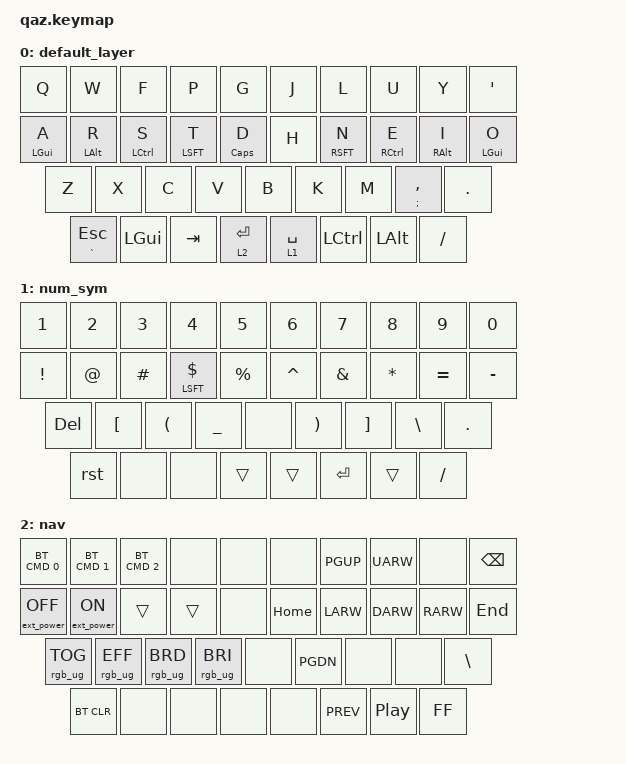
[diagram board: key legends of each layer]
/*
 * Copyright (c) 2020 The ZMK Contributors
 *
 * SPDX-License-Identifier: MIT
 */

#include <behaviors.dtsi>
#include <dt-bindings/zmk/keys.h>
#include <dt-bindings/zmk/bt.h>
#include <dt-bindings/zmk/rgb.h>
#include <dt-bindings/zmk/ext_power.h>

#define DEFAULT 0
#define NUM_SYM 1
#define NAV     2

/ {
	behaviors {
		rst: behavior_tap_hold1 {
			compatible = "zmk,behavior-hold-tap";
			label = "Bootloader Tap - Reset Hold";
			#binding-cells = <0>;
			tapping_term_ms = <200>;
            flavor = "balanced";
			bindings = <&reset>, <&bootloader>;
        };

        bh: layer_taps {
			compatible = "zmk,behavior-hold-tap";
			label = "Layer-Tap";
			#binding-cells = <2>;
			tapping_term_ms = <225>;
            flavor = "balanced";
			bindings = <&mo>, <&kp>;
        };

        hm: homerow_mods {
			compatible = "zmk,behavior-hold-tap";
			label = "homerow mods";
			#binding-cells = <2>;
			tapping_term_ms = <200>;
            flavor = "tap-preferred";
			bindings = <&kp>, <&kp>;
        };
        
        hm1: homerow_mods1 {
			compatible = "zmk,behavior-hold-tap";
			label = "homerow mods";
			#binding-cells = <2>;
			tapping_term_ms = <210>;
            flavor = "balanced";
			bindings = <&kp>, <&kp>;
        };

        hm2: homerow_mods2 {
			compatible = "zmk,behavior-hold-tap";
			label = "homerow mods 2";
			#binding-cells = <2>;
			tapping_term_ms = <230>;
            flavor = "tap-preferred";
			bindings = <&kp>, <&kp>;
        };

        com_col: behavior_tap_hold10 {
		 	compatible = "zmk,behavior-hold-tap";
	     	label = "Tap comma_hold colon";
			#binding-cells = <2>;
			tapping_term_ms = <150>;
            flavor = "balanced";
		 	bindings = <&kp>, <&kp>;
	     	};
    	 };
    };

/ {
    keymap {
        compatible = "zmk,keymap";

        default_layer {
            bindings = <
    &kp Q &kp W &kp F &kp P &kp G &kp J &kp L &kp U &kp Y &kp QUOT    
    &hm2 LGUI A &hm LALT R &hm LCTL S &hm1 LSFT T &hm2 CLCK D &kp H &hm1 RSFT N &hm RCTL E &hm RALT I &hm2 LGUI O
    &kp Z &kp X &kp C &kp V &kp B &kp K &kp M &com_col SCLN CMMA &kp DOT
    &com_col GRAVE ESC &kp LGUI &kp TAB &bh 2 RET &bh 1 SPC &kp LCTL &kp LALT &kp FSLH
            >;
        };

        num_sym {
            bindings = <
    &kp NUM_1 &kp NUM_2 &kp NUM_3 &kp NUM_4 &kp NUM_5 &kp NUM_6 &kp NUM_7 &kp NUM_8 &kp NUM_9 &kp NUM_0    
    &kp EXCL &kp AT &kp POUND &hm LSFT DLLR &kp PRCNT &kp CARET &kp AMPS &kp STAR &kp EQUAL &kp MINUS       
    &kp DEL &kp LBKT &kp LPAR &kp UNDER &none &kp RPAR &kp RBKT &kp BSLH &kp DOT
    &rst &none &none &trans &trans &kp RET &trans &kp FSLH
            >;
        };

    nav {
            bindings = <
    &bt BT_SEL_CMD 0 &bt BT_SEL_CMD 1 &bt BT_SEL_CMD 2 &none &none &none &kp PGUP &kp UARW &none &kp BKSP    
    &ext_power EP_OFF &ext_power EP_ON &trans &trans &none &kp HOME &kp LARW &kp DARW &kp RARW &kp END       
    &rgb_ug RGB_TOG &rgb_ug RGB_EFF &rgb_ug RGB_BRD &rgb_ug RGB_BRI &none &kp PGDN &none &none &kp BSLH
    &bt BT_CLR &none &none &none &none &kp C_PREV &kp C_PP &kp C_FF
            >;
        };
    };
};
